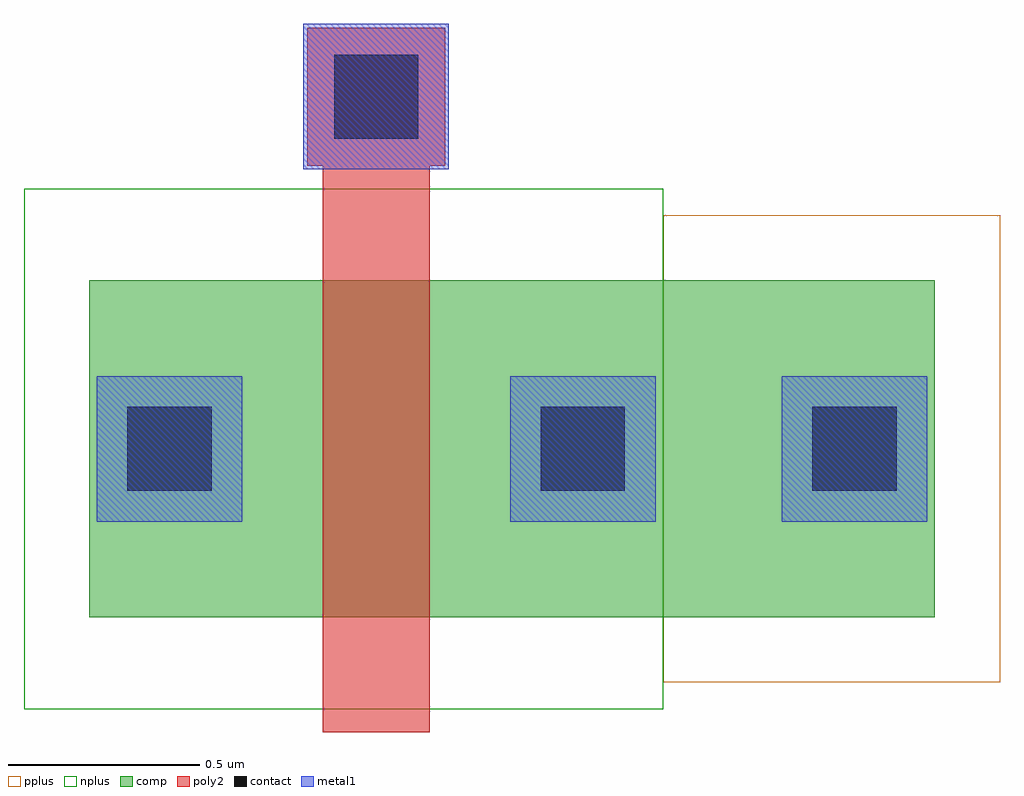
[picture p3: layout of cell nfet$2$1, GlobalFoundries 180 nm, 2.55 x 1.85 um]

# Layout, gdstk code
import gdstk
lib = gdstk.Library(unit=1e-6, precision=5e-09)
def R(c, l, rs):  # rectangles x0, y0, x1, y1
    for r in rs: c.add(gdstk.rectangle(r[:2], r[2:], *l))
comp = (22, 0)
poly2 = (30, 0)
pplus = (31, 0)
nplus = (32, 0)
contact = (33, 0)
metal1 = (34, 0)

nfet_2_1 = lib.new_cell('nfet$2$1')
R(nfet_2_1, comp, [(-0.42,0,0,0.88), (0,0,0.66,0.88), (0.66,0,1.08,0.88), (1.08,0,1.79,0.88)])
R(nfet_2_1, poly2, [(0.19,-0.3,0.47,1.18), (0.15,1.18,0.51,1.54)])
R(nfet_2_1, pplus, [(1.08,-0.17,1.96,1.05)])
R(nfet_2_1, nplus, [(-0.59,-0.24,1.08,1.12)])
R(nfet_2_1, contact, [(-0.32,0.33,-0.1,0.55), (0.76,0.33,0.98,0.55), (1.47,0.33,1.69,0.55), (0.22,1.25,0.44,1.47)])
R(nfet_2_1, metal1, [(-0.4,0.25,-0.02,0.63), (0.68,0.25,1.06,0.63), (1.39,0.25,1.77,0.63), (0.14,1.17,0.52,1.55)])

lib.write_gds('nfet_2_1.gds')
